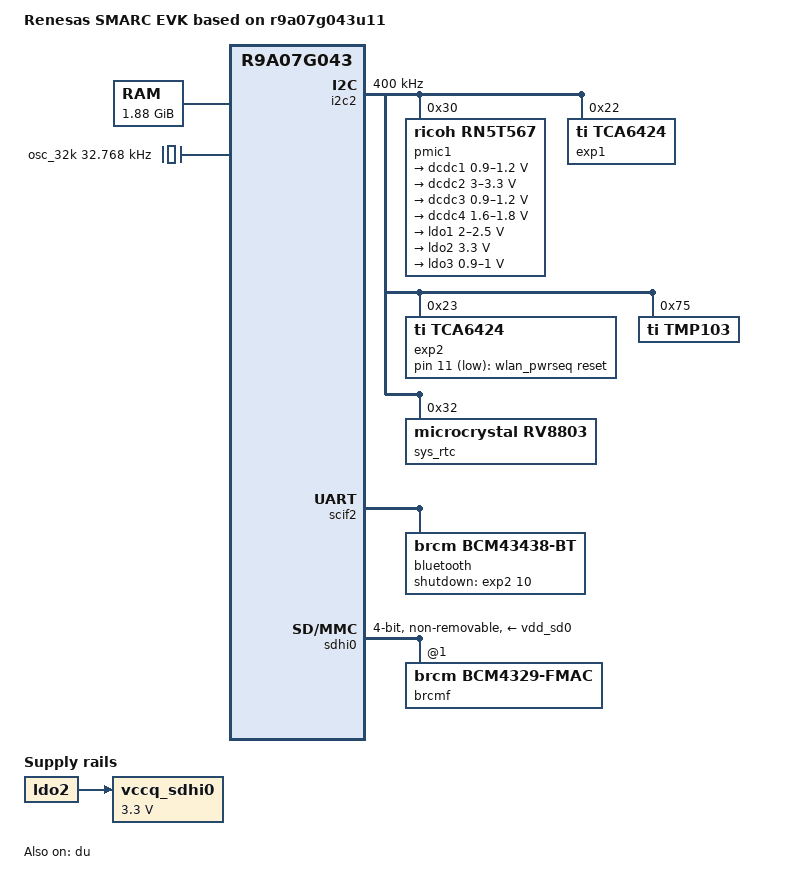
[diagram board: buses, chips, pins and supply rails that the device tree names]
/*
 * Copyright (C) 2023 Avnet Embedded GmbH
 *
 * This program is free software; you can redistribute it and/or
 * modify it under the terms of the GNU General Public License as
 * published by the Free Software Foundation version 2.
 *
 * This program is distributed "as is" WITHOUT ANY WARRANTY of any
 * kind, whether express or implied; without even the implied warranty
 * of MERCHANTABILITY or FITNESS FOR A PARTICULAR PURPOSE.  See the
 * GNU General Public License for more details.
 */

/dts-v1/;
#include "msc-sm2s-g2ul-dv1-module.dtsi"

/ {
	model = "Renesas SMARC EVK based on r9a07g043u11";
	compatible = "renesas,smarc-evk", "renesas,r9a07g043u11", "renesas,r9a07g043";

	memory@48000000 {
			device_type = "memory";
			/* first 128MB is reserved for secure area. */
			reg = <0x0 0x48000000 0x0 0x78000000>;
		};

		reserved-memory {
			#address-cells = <2>;
			#size-cells = <2>;
			ranges;

			global_cma: linux,cma@58000000 {
					compatible = "shared-dma-pool";
					linux,cma-default;
					reusable;
					reg = <0x0 0x58000000 0x0 0x10000000>;
			};
			mmp_reserved: linux,multimedia {
					compatible = "shared-dma-pool";
					reusable;
					reg = <0x00000000 0x68000000 0x0 0x8000000>;
			};
		};

	wlan_pwrseq: wlan_pwrseq {
		compatible = "mmc-pwrseq-simple";
		reset-gpios = <&exp2 11 GPIO_ACTIVE_LOW>;  /* WIFI_EN_DEV */
		clocks = <&osc_32k>;
		clock-names = "ext_clock";
		post-power-on-delay-ms = <80>;
	};

	vccq_sdhi0: regulator-vccq-sdhi0 {
		compatible = "regulator-fixed";
		regulator-name = "SDHI0 VccQ";
		regulator-min-microvolt = <3300000>;
		regulator-max-microvolt = <3300000>;
		vin-supply = <&ldo2>;
		regulator-always-on;
	};

	osc_32k: osc_32k {
		compatible = "fixed-clock";
		#clock-cells = <0>;
		clock-frequency = <32768>;
		clock-output-names = "osc_32k";
	};
};

&pinctrl {
	du_pins: du {
		data {
			pinmux = <RZG2L_PORT_PINMUX(13, 0, 6)>,
					<RZG2L_PORT_PINMUX(13, 4, 6)>,
					<RZG2L_PORT_PINMUX(13, 3, 6)>,
					<RZG2L_PORT_PINMUX(12, 1, 6)>,
					<RZG2L_PORT_PINMUX(13, 2, 6)>,
					<RZG2L_PORT_PINMUX(14, 0, 6)>,
					<RZG2L_PORT_PINMUX(16, 0, 6)>,
					<RZG2L_PORT_PINMUX(15, 0, 6)>,
					<RZG2L_PORT_PINMUX(16, 1, 6)>,
					<RZG2L_PORT_PINMUX(15, 1, 6)>,
					<RZG2L_PORT_PINMUX(15, 3, 6)>,
					<RZG2L_PORT_PINMUX(18, 0, 6)>,
					<RZG2L_PORT_PINMUX(17, 2, 6)>,
					<RZG2L_PORT_PINMUX(17, 1, 6)>,
					<RZG2L_PORT_PINMUX(18, 1, 6)>,
					<RZG2L_PORT_PINMUX(18, 2, 6)>,
					<RZG2L_PORT_PINMUX(17, 3, 6)>,
					<RZG2L_PORT_PINMUX(18, 3, 6)>;
			drive-strength = <2>;
		};

		sync {
			pinmux = <RZG2L_PORT_PINMUX(11, 0, 6)>, /* HSYNC */
				<RZG2L_PORT_PINMUX(12, 0, 6)>; /* VSYNC */
			drive-strength = <2>;
		};

		de {
			pinmux = <RZG2L_PORT_PINMUX(11, 1, 6)>; /* DE */
			drive-strength = <2>;
		};

		clk {
			pinmux = <RZG2L_PORT_PINMUX(11, 3, 6)>; /* CLK */
		};
	};
};

&i2c2 {
	#address-cells = <1>;
	#size-cells = <0>;
	pinctrl-names = "default";
	pinctrl-0 = <&i2c2_pins>;
	clock-frequency = <400000>;
	status="okay";

	pmic1: pmic@30 {
		compatible = "ricoh,rn5t567";
		reg = <0x30>;
		pmic-id = <0>;
		sleep-sequence = /bits/ 8 <
					0x16    0x2b
					0x17    0x49
					0x1b    0x2b
					0x1c    0x67
					0x1f    0x0b
					0x32    0x03
					0x30    0x03
				>;

		regulators {
			dcdc1:DCDC1 {
					regulator-name = "VCC_DRAM_VPU_0V9";
					regulator-always-on;
					regulator-min-microvolt = <900000>;
					regulator-max-microvolt = <1200000>;
			};

			dcdc2:DCDC2 {
					regulator-name = "VCC_ARM_0V9";
					regulator-always-on;
					regulator-min-microvolt = <3000000>;
					regulator-max-microvolt = <3300000>;
			};

			dcdc3:DCDC3 {
					regulator-name = "VCC_DDR_1V2";
					regulator-always-on;
					regulator-min-microvolt = <900000>;
					regulator-max-microvolt = <1200000>;
			};

			dcdc4:DCDC4 {
					regulator-name = "VCC_SYS_1V8";
					regulator-always-on;
					regulator-min-microvolt = <1600000>;
					regulator-max-microvolt = <1800000>;
			};

			ldo1:LDO1 {
					regulator-name = "VCC_PHY_2V5";
					regulator-always-on;
					regulator-min-microvolt = <2000000>;
					regulator-max-microvolt = <2500000>;
			};

			ldo2:LDO2 {
					regulator-name = "VCC_LDO2_3V3";
					regulator-always-on;
					regulator-min-microvolt = <3300000>;
					regulator-max-microvolt = <3300000>;
			};

			ldo3:LDO3 {
					regulator-name = "VCC_LDO3_1V0";
					regulator-always-on;
					regulator-min-microvolt = <900000>;
					regulator-max-microvolt = <1000000>;
			};
		};
	};

	exp1: gpio@22 {
			compatible = "ti,tca6424";
			reg = <0x22>;
			gpio-controller;
			#gpio-cells = <2>;
	};

	exp2: gpio@23 {
			compatible = "ti,tca6424";
			reg = <0x23>;
			gpio-controller;
			#gpio-cells = <2>;
	};

	tmp103: tmp103@75 {
			compatible = "ti,tmp103";
			reg = <0x75>;
	};

	sys_rtc: rtc@32 {
			compatible = "microcrystal,rv8803";
			reg = <0x32>;
	};
};

/* BT_UART */
&scif2 {
		pinctrl-0 = <&scif2_pins>;
		pinctrl-names = "default";
		uart-has-rtscts;
		/* resets = <&bt_reset>;*/
		status = "okay";
		bluetooth {
				compatible = "brcm,bcm43438-bt";
				shutdown-gpios = <&exp2 10 GPIO_ACTIVE_HIGH>;
				clocks = <&osc_32k>;
				clock-names = "extclk";
				max-speed = <2000000>;
		};
};

&sdhi0 {
	#address-cells = <1>;
	#size-cells = <0>;
	pinctrl-0 = <&sdhi0_pins>;
	pinctrl-names = "default";
	vmmc-supply = <&vdd_sd0>;
	vqmmc-supply = <&vccq_sdhi0>;
	bus-width = <4>;
	no-1-8-v;	/* force 3.3V VIO */
	non-removable;
	disable-wp;
	mmc-pwrseq = <&wlan_pwrseq>;
	pm-ignore-notify;
	cap-power-off-card;
	/* WiFi firmware requires power to be kept while in suspend */
	keep-power-in-suspend;

	status = "okay";

	brcmf: bcrmf@1 {
		reg = <1>;
		compatible = "brcm,bcm4329-fmac";
	};
};

&du {
	status = "okay";
};
